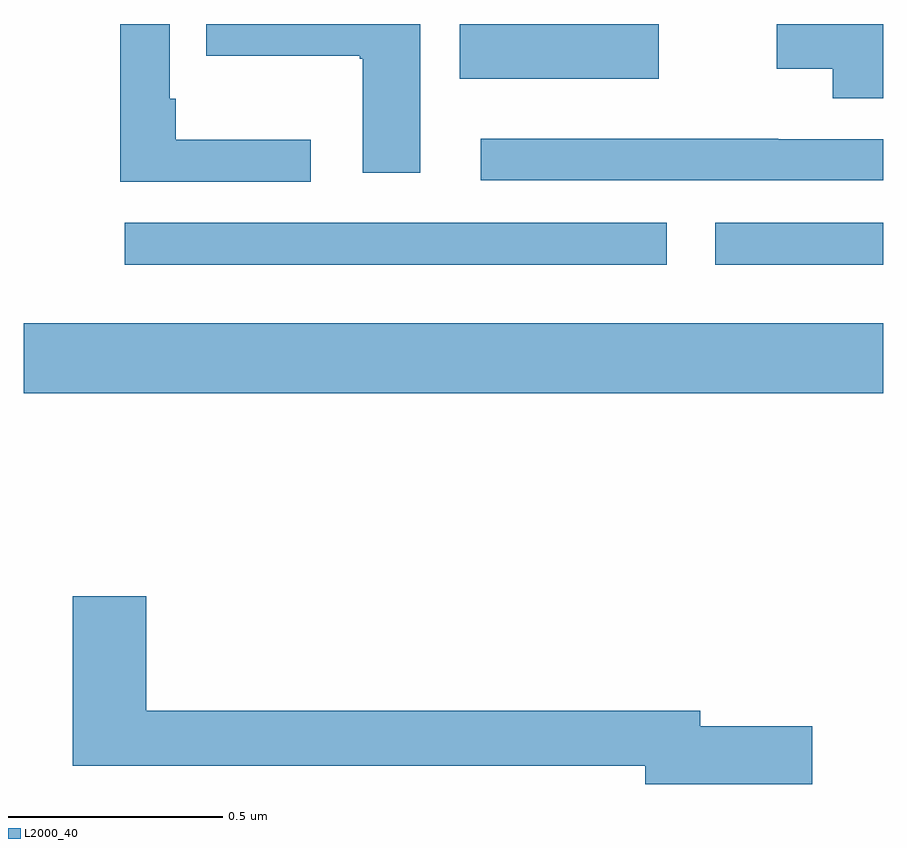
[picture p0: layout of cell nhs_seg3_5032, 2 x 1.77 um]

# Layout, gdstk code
import gdstk
lib = gdstk.Library(unit=1e-6, precision=1e-09)
def R(c, l, rs):  # rectangles x0, y0, x1, y1
    for r in rs: c.add(gdstk.rectangle(r[:2], r[2:], *l))
def P(c, l, *ps):  # polygons
    for p in ps: c.add(gdstk.Polygon(p, *l))
L2000_40 = (2000, 40)

nhs_seg3_5032 = lib.new_cell('nhs_seg3_5032')
R(nhs_seg3_5032, L2000_40, [(173,743.54,175,743.704), (173.235,743.84,174.496,743.937), (174.609,743.84,175,743.937), (174.014,744.272,174.478,744.4)])
P(nhs_seg3_5032, L2000_40, [(175,744.4),(174.752,744.4),(174.752,744.296),(174.883,744.296),(174.883,744.227),(175,744.227)],
  [(173.668,744.131),(173.353,744.131),(173.353,744.226),(173.34,744.226),(173.34,744.4),(173.224,744.4),(173.224,744.033),(173.668,744.033)],
  [(173.923,744.4),(173.425,744.4),(173.425,744.326),(173.782,744.326),(173.782,744.319),(173.789,744.319),(173.789,744.054),(173.923,744.054)],
  [(175,744.132),(174.756,744.132),(174.756,744.133),(174.063,744.133),(174.063,744.036),(175,744.036)],
  [(174.835,742.766),(174.574,742.766),(174.574,742.802),(173.285,742.802),(173.285,743.068),(173.114,743.068),(173.114,742.674),(174.446,742.674),(174.446,742.631),(174.835,742.631)])

lib.write_gds('nhs_seg3_5032.gds')
